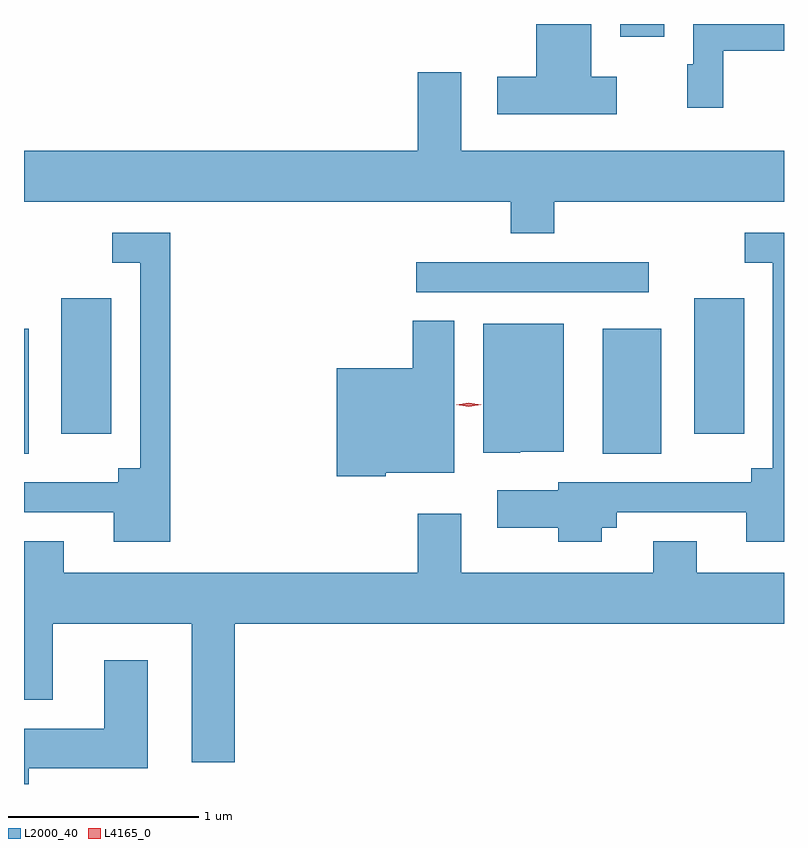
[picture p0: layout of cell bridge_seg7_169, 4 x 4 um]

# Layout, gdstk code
import gdstk
lib = gdstk.Library(unit=1e-6, precision=1e-09)
def R(c, l, rs):  # rectangles x0, y0, x1, y1
    for r in rs: c.add(gdstk.rectangle(r[:2], r[2:], *l))
def P(c, l, *ps):  # polygons
    for p in ps: c.add(gdstk.Polygon(p, *l))
L2000_40 = (2000, 40)
L4165_0 = (4165, 0)

bridge_seg7_169 = lib.new_cell('bridge_seg7_169')
R(bridge_seg7_169, L2000_40, [(1658.469,1728.531,1658.494,1729.189), (1661.516,1728.531,1661.824,1729.189), (1658.666,1728.636,1658.929,1729.349), (1661.996,1728.636,1662.259,1729.349), (1660.533,1729.381,1661.758,1729.539), (1661.606,1730.726,1661.839,1730.792)])
P(bridge_seg7_169, L2000_40, [(1661.589,1730.514),(1661.454,1730.514),(1661.454,1730.792),(1661.166,1730.792),(1661.166,1730.514),(1660.961,1730.514),(1660.961,1730.316),(1661.589,1730.316)],
  [(1662.149,1730.651),(1662.469,1730.651),(1662.469,1730.792),(1661.991,1730.792),(1661.991,1730.579),(1661.961,1730.579),(1661.961,1730.351),(1662.149,1730.351)],
  [(1661.259,1729.856),(1662.469,1729.856),(1662.469,1730.124),(1660.769,1730.124),(1660.769,1730.539),(1660.541,1730.539),(1660.541,1730.124),(1658.469,1730.124),(1658.469,1729.856),(1661.031,1729.856),(1661.031,1729.691),(1661.259,1729.691)],
  [(1661.509,1728.141),(1661.589,1728.141),(1661.589,1728.221),(1662.271,1728.221),(1662.271,1728.066),(1662.469,1728.066),(1662.469,1729.694),(1662.263,1729.694),(1662.263,1729.536),(1662.411,1729.536),(1662.411,1728.454),(1662.296,1728.454),(1662.296,1728.379),(1661.281,1728.379),(1661.281,1728.339),(1660.961,1728.339),(1660.961,1728.141),(1661.281,1728.141),(1661.281,1728.066),(1661.509,1728.066)],
  [(1659.239,1729.694),(1658.933,1729.694),(1658.933,1729.536),(1659.081,1729.536),(1659.081,1728.454),(1658.966,1728.454),(1658.966,1728.379),(1658.469,1728.379),(1658.469,1728.221),(1658.941,1728.221),(1658.941,1728.066),(1659.239,1728.066)],
  [(1660.374,1728.431),(1660.734,1728.431),(1660.734,1729.229),(1660.516,1729.229),(1660.516,1728.979),(1660.116,1728.979),(1660.116,1728.411),(1660.374,1728.411)],
  [(1661.08,1728.541),(1661.309,1728.541),(1661.309,1729.214),(1660.886,1729.214),(1660.886,1728.536),(1661.08,1728.536)],
  [(1658.469,1728.069),(1658.469,1727.236),(1658.619,1727.236),(1658.619,1727.636),(1659.351,1727.636),(1659.351,1726.906),(1659.579,1726.906),(1659.579,1727.636),(1662.469,1727.636),(1662.469,1727.904),(1662.009,1727.904),(1662.009,1728.069),(1661.781,1728.069),(1661.781,1727.904),(1660.769,1727.904),(1660.769,1728.214),(1660.541,1728.214),(1660.541,1727.904),(1658.679,1727.904),(1658.679,1728.069)],
  [(1658.494,1726.876),(1659.119,1726.876),(1659.119,1727.444),(1658.891,1727.444),(1658.891,1727.084),(1658.469,1727.084),(1658.469,1726.792),(1658.494,1726.792)])
P(bridge_seg7_169, L4165_0, [(1660.81,1728.778),(1660.744,1728.788),(1660.744,1728.788),(1660.744,1728.788),(1660.81,1728.798),(1660.876,1728.789),(1660.876,1728.789),(1660.876,1728.788)])

lib.write_gds('bridge_seg7_169.gds')
